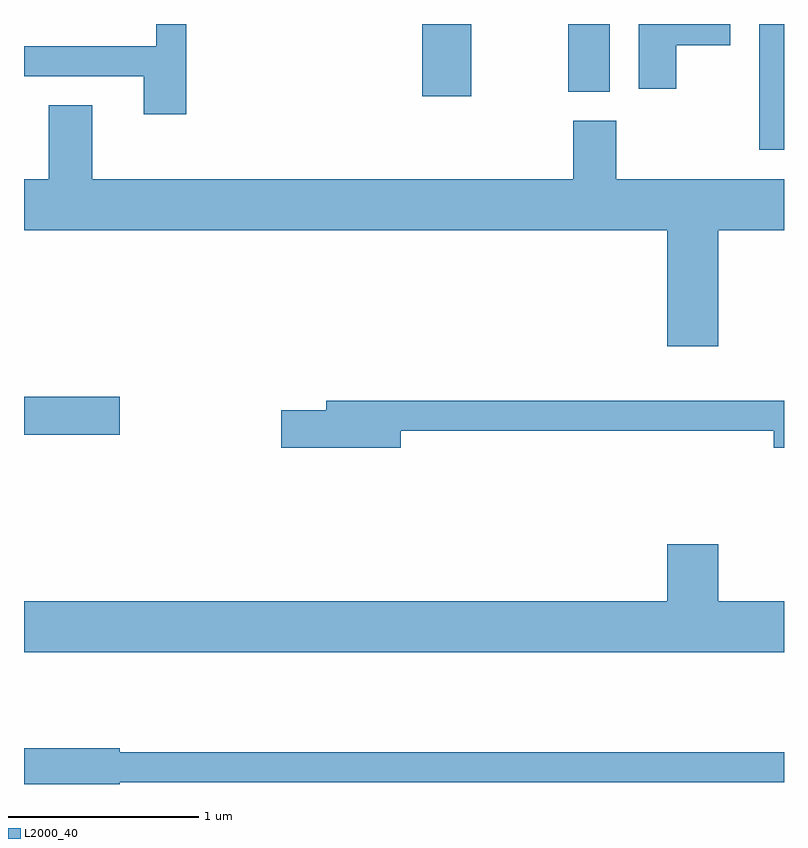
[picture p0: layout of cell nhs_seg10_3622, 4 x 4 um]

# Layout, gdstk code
import gdstk
lib = gdstk.Library(unit=1e-6, precision=1e-09)
def R(c, l, rs):  # rectangles x0, y0, x1, y1
    for r in rs: c.add(gdstk.rectangle(r[:2], r[2:], *l))
def P(c, l, *ps):  # polygons
    for p in ps: c.add(gdstk.Polygon(p, *l))
L2000_40 = (2000, 40)

nhs_seg10_3622 = lib.new_cell('nhs_seg10_3622')
R(nhs_seg10_3622, L2000_40, [(291.611,2148.361,292.114,2148.559), (295.481,2149.861,295.611,2150.522), (293.706,2150.141,293.964,2150.522), (294.476,2150.166,294.694,2150.522)])
P(nhs_seg10_3622, L2000_40, [(295.044,2150.411),(295.329,2150.411),(295.329,2150.522),(294.846,2150.522),(294.846,2150.181),(295.044,2150.181)],
  [(292.464,2150.522),(292.306,2150.522),(292.306,2150.404),(291.611,2150.404),(291.611,2150.246),(292.241,2150.246),(292.241,2150.046),(292.464,2150.046)],
  [(295.264,2149.436),(295.611,2149.436),(295.611,2149.704),(294.729,2149.704),(294.729,2150.014),(294.501,2150.014),(294.501,2149.704),(291.969,2149.704),(291.969,2150.094),(291.741,2150.094),(291.741,2149.704),(291.611,2149.704),(291.611,2149.436),(294.996,2149.436),(294.996,2148.826),(295.264,2148.826)],
  [(293.594,2148.381),(295.556,2148.381),(295.556,2148.291),(295.611,2148.291),(295.611,2148.539),(293.201,2148.539),(293.201,2148.489),(292.966,2148.489),(292.966,2148.291),(293.594,2148.291)],
  [(295.611,2147.484),(295.264,2147.484),(295.264,2147.784),(294.996,2147.784),(294.996,2147.484),(291.611,2147.484),(291.611,2147.216),(295.611,2147.216)],
  [(292.114,2146.531),(295.611,2146.531),(295.611,2146.689),(292.114,2146.689),(292.114,2146.709),(291.611,2146.709),(291.611,2146.522),(292.114,2146.522)])

lib.write_gds('nhs_seg10_3622.gds')
